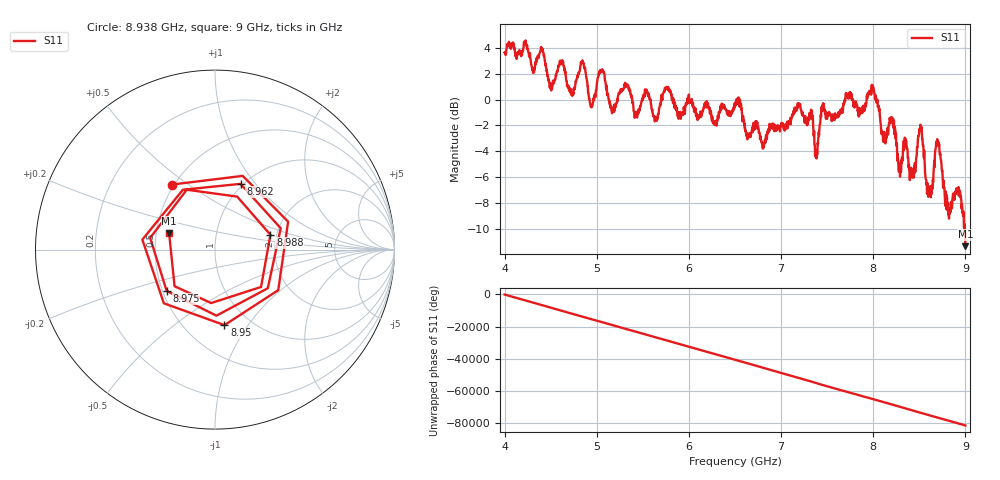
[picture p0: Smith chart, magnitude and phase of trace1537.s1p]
! Created with skrf 1.8.0 (http://scikit-rf.org).
# Hz S RI R 50.0
!freq ReS11 ImS11
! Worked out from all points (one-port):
!   1601 points, 4 GHz to 9 GHz, reference 50 ohm
!   lowest |S11| = -11.3 dB at 9 GHz (marker M1), VSWR 1.74, Z = 29.2 + j5.69 ohm
!   |S11| at or under -10 dB: 8.992301 GHz to end of sweep
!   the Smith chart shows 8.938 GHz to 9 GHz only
!   S11 on the Smith chart (normalised r, x): 8.938 GHz: 0.49, +0.44; 8.95 GHz: 0.76, -0.78; 8.962 GHz: 0.97, +0.84; 8.975 GHz: 0.53, -0.28; 8.988 GHz: 1.85, +0.34; 9 GHz: 0.58, +0.11
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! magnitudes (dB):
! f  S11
! 4 GHz  3.7
! 4.625 GHz  3.1
! 4.725 GHz  0.4
! 4.85 GHz  2.8
! 4.941 GHz  -0.5
! 5.053 GHz  2.3
! 5.25 GHz  0.5
! 5.875 GHz  -1.1
! 6.5 GHz  -0.4
! 6.806 GHz  -3.4
! 7.125 GHz  -1.1
! 7.388 GHz  -4.0
! 7.453 GHz  -0.5
! 7.75 GHz  0.3
! 7.994 GHz  1.1
! 8.112 GHz  -3.3
! 8.375 GHz  -4.5
! 8.438 GHz  -5.8
! 8.509 GHz  -2.3
! 8.606 GHz  -7.0
! 8.697 GHz  -3.3
! 8.816 GHz  -8.9
! 8.938 GHz  -7.3
! 8.95 GHz  -7.5
! 8.962 GHz  -8.1
! 8.975 GHz  -9.0
! 8.988 GHz  -9.9
! 9 GHz  -11.3
